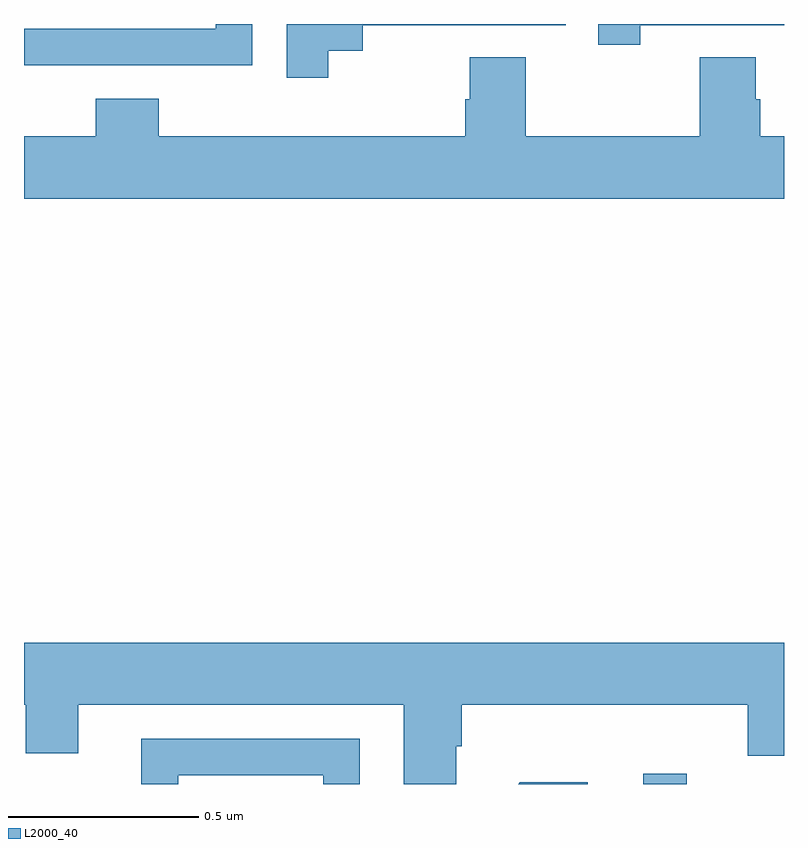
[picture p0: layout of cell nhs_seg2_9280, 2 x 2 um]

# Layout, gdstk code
import gdstk
lib = gdstk.Library(unit=1e-6, precision=1e-09)
def R(c, l, rs):  # rectangles x0, y0, x1, y1
    for r in rs: c.add(gdstk.rectangle(r[:2], r[2:], *l))
def P(c, l, *ps):  # polygons
    for p in ps: c.add(gdstk.Polygon(p, *l))
L2000_40 = (2000, 40)

nhs_seg2_9280 = lib.new_cell('nhs_seg2_9280')
R(nhs_seg2_9280, L2000_40, [(228.629,608.8,228.744,608.827)])
P(nhs_seg2_9280, L2000_40, [(227.8,610.729),(227.892,610.729),(227.892,610.797),(228.426,610.797),(228.426,610.8),(227.691,610.8),(227.691,610.659),(227.8,610.659)],
  [(228.622,610.797),(229,610.797),(229,610.8),(228.511,610.8),(228.511,610.746),(228.622,610.746)],
  [(227.105,610.692),(227.601,610.692),(227.601,610.8),(227.505,610.8),(227.505,610.788),(227,610.788),(227,610.691),(227.105,610.691)],
  [(229,610.504),(228.938,610.504),(228.938,610.602),(228.925,610.602),(228.925,610.712),(228.778,610.712),(228.778,610.504),(228.321,610.504),(228.321,610.712),(228.173,610.712),(228.173,610.602),(228.161,610.602),(228.161,610.504),(227.354,610.504),(227.354,610.603),(227.189,610.603),(227.189,610.504),(227,610.504),(227,610.34),(229,610.34)],
  [(228.138,608.899),(228.152,608.899),(228.152,609.008),(228.905,609.008),(228.905,608.875),(229,608.875),(229,609.172),(227,609.172),(227,609.008),(227.004,609.008),(227.004,608.881),(227.143,608.881),(227.143,609.008),(227.999,609.008),(227.999,608.8),(228.138,608.8)],
  [(227.406,608.823),(227.787,608.823),(227.787,608.8),(227.883,608.8),(227.883,608.919),(227.309,608.919),(227.309,608.8),(227.406,608.8)],
  [(228.484,608.804),(228.305,608.804),(228.301,608.8),(228.484,608.8)])

lib.write_gds('nhs_seg2_9280.gds')
